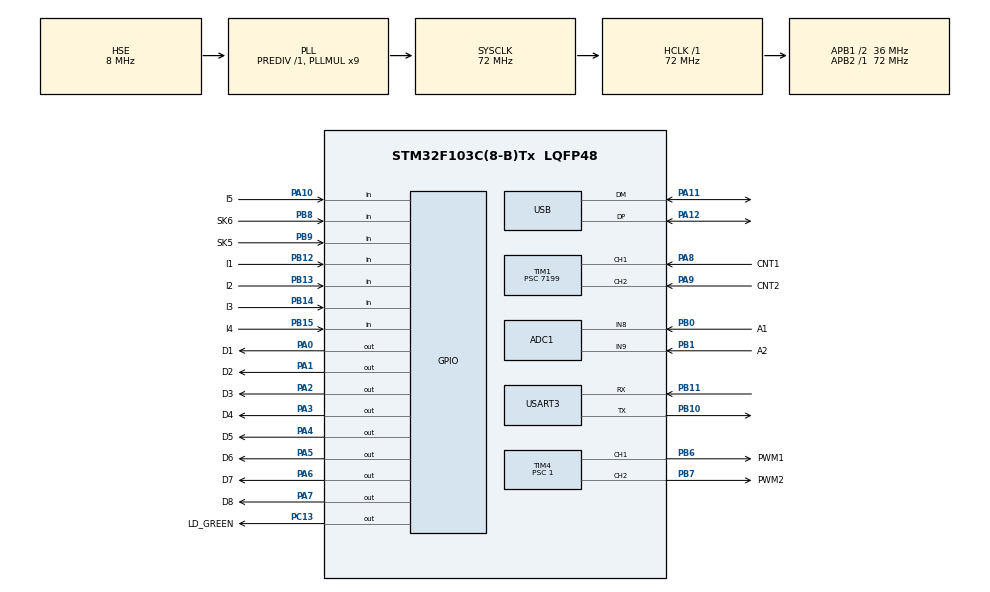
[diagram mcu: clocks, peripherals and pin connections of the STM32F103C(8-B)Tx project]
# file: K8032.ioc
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ADC1.Channel-1\#ChannelRegularConversion=ADC_CHANNEL_8
ADC1.Channel-2\#ChannelRegularConversion=ADC_CHANNEL_9
ADC1.ContinuousConvMode=DISABLE
ADC1.DiscontinuousConvMode=ENABLE
ADC1.NbrOfConversion=2
ADC1.NbrOfConversionFlag=1
ADC1.NbrOfDiscConversion=1
ADC1.Rank-1\#ChannelRegularConversion=1
ADC1.Rank-2\#ChannelRegularConversion=2
ADC1.SamplingTime-1\#ChannelRegularConversion=ADC_SAMPLETIME_1CYCLE_5
ADC1.SamplingTime-2\#ChannelRegularConversion=ADC_SAMPLETIME_1CYCLE_5
ADC1.master=1
Mcu.Family=STM32F1
Mcu.Name=STM32F103C(8-B)Tx
Mcu.Package=LQFP48
NVIC.PriorityGroup=NVIC_PRIORITYGROUP_4
NVIC.TIM1_CC_IRQn=true\:0\:0\:false\:false\:true\:true\:true\:true
NVIC.TIM4_IRQn=true\:0\:0\:false\:false\:true\:true\:true\:true
NVIC.USART3_IRQn=true\:0\:0\:false\:false\:true\:true\:true\:true
NVIC.USB_LP_CAN1_RX0_IRQn=true\:0\:0\:false\:false\:true\:false\:true\:true
PA0-WKUP.GPIO_Label=D1
PA0-WKUP.Signal=GPIO_Output
PA1.GPIO_Label=D2
PA1.Signal=GPIO_Output
PA10.GPIO_Label=I5
PA10.GPIO_PuPd=GPIO_PULLDOWN
PA10.Signal=GPIO_Input
PA11.Mode=Device
PA11.Signal=USB_DM
PA12.Mode=Device
PA12.Signal=USB_DP
PA13.Mode=JTAG_5_pins
PA13.Signal=SYS_JTMS-SWDIO
PA14.Mode=JTAG_5_pins
PA14.Signal=SYS_JTCK-SWCLK
PA15.Mode=JTAG_5_pins
PA15.Signal=SYS_JTDI
PA2.GPIO_Label=D3
PA2.Signal=GPIO_Output
PA3.GPIO_Label=D4
PA3.Signal=GPIO_Output
PA4.GPIO_Label=D5
PA4.Signal=GPIO_Output
PA5.GPIO_Label=D6
PA5.Signal=GPIO_Output
PA6.GPIO_Label=D7
PA6.Signal=GPIO_Output
PA7.GPIO_Label=D8
PA7.Signal=GPIO_Output
PA8.GPIO_Label=CNT1
PA8.GPIO_PuPd=GPIO_PULLDOWN
PA8.Signal=S_TIM1_CH1
PA9.GPIO_Label=CNT2
PA9.GPIO_PuPd=GPIO_PULLDOWN
PA9.Signal=S_TIM1_CH2
PB0.GPIO_Label=A1
PB0.Signal=ADCx_IN8
PB1.GPIO_Label=A2
PB1.Signal=ADCx_IN9
PB10.Mode=Asynchronous
PB10.Signal=USART3_TX
PB11.Mode=Asynchronous
PB11.Signal=USART3_RX
PB12.GPIO_Label=I1
PB12.GPIO_PuPd=GPIO_PULLDOWN
PB12.Signal=GPIO_Input
PB13.GPIO_Label=I2
PB13.GPIO_PuPd=GPIO_PULLDOWN
PB13.Signal=GPIO_Input
PB14.GPIO_Label=I3
PB14.GPIO_PuPd=GPIO_PULLDOWN
PB14.Signal=GPIO_Input
PB15.GPIO_Label=I4
PB15.GPIO_PuPd=GPIO_PULLDOWN
PB15.Signal=GPIO_Input
PB3.Mode=JTAG_5_pins
PB3.Signal=SYS_JTDO-TRACESWO
PB4.Mode=JTAG_5_pins
PB4.Signal=SYS_NJTRST
PB6.GPIO_Label=PWM1
PB6.Signal=S_TIM4_CH1
PB7.GPIO_Label=PWM2
PB7.Signal=S_TIM4_CH2
PB8.GPIO_Label=SK6
PB8.GPIO_PuPd=GPIO_PULLUP
PB8.Signal=GPIO_Input
PB9.GPIO_Label=SK5
PB9.GPIO_PuPd=GPIO_PULLUP
PB9.Signal=GPIO_Input
PC13-TAMPER-RTC.GPIO_Label=LD_GREEN
PC13-TAMPER-RTC.PinState=GPIO_PIN_SET
PC13-TAMPER-RTC.Signal=GPIO_Output
PC14-OSC32_IN.Mode=LSE-External-Oscillator
PC14-OSC32_IN.Signal=RCC_OSC32_IN
PC15-OSC32_OUT.Mode=LSE-External-Oscillator
PC15-OSC32_OUT.Signal=RCC_OSC32_OUT
PD0-OSC_IN.Mode=HSE-External-Oscillator
PD0-OSC_IN.Signal=RCC_OSC_IN
PD1-OSC_OUT.Mode=HSE-External-Oscillator
PD1-OSC_OUT.Signal=RCC_OSC_OUT
ProjectManager.HeapSize=0x400
ProjectManager.StackSize=0x400
ProjectManager.TargetToolchain=STM32CubeIDE
RCC.ADCPresc=RCC_ADCPCLK2_DIV6
RCC.AHBFreq_Value=72000000
RCC.APB1CLKDivider=RCC_HCLK_DIV2
RCC.APB1Freq_Value=36000000
RCC.APB1TimFreq_Value=72000000
RCC.APB2Freq_Value=72000000
RCC.APB2TimFreq_Value=72000000
RCC.HCLKFreq_Value=72000000
RCC.PLLMUL=RCC_PLL_MUL9
RCC.SYSCLKFreq_VALUE=72000000
RCC.SYSCLKSource=RCC_SYSCLKSOURCE_PLLCLK
RCC.USBFreq_Value=48000000
RCC.USBPrescaler=RCC_USBCLKSOURCE_PLL_DIV1_5
SH.ADCx_IN8.0=ADC1_IN8,IN8
SH.ADCx_IN9.0=ADC1_IN9,IN9
SH.S_TIM1_CH1.0=TIM1_CH1,Input_Capture1_from_TI1
SH.S_TIM1_CH2.0=TIM1_CH2,Input_Capture2_from_TI2
SH.S_TIM4_CH1.0=TIM4_CH1,PWM Generation1 CH1
SH.S_TIM4_CH2.0=TIM4_CH2,PWM Generation2 CH2
TIM1.AutoReloadPreload=TIM_AUTORELOAD_PRELOAD_ENABLE
TIM1.Channel-Input_Capture1_from_TI1=TIM_CHANNEL_1
TIM1.Channel-Input_Capture2_from_TI2=TIM_CHANNEL_2
TIM1.ClockDivision=TIM_CLOCKDIVISION_DIV1
TIM1.ICPolarity_CH1=TIM_INPUTCHANNELPOLARITY_RISING
TIM1.ICPolarity_CH2=TIM_INPUTCHANNELPOLARITY_RISING
TIM1.Period=65535
TIM1.Prescaler=7199
TIM4.AutoReloadPreload=TIM_AUTORELOAD_PRELOAD_ENABLE
TIM4.Channel-PWM\ Generation1\ CH1=TIM_CHANNEL_1
TIM4.Channel-PWM\ Generation2\ CH2=TIM_CHANNEL_2
TIM4.Period=1023
TIM4.Prescaler=1
USART3.VirtualMode=VM_ASYNC
USB_DEVICE.CLASS_NAME_FS=CUSTOM_HID
USB_DEVICE.CUSTOM_HID_FS_BINTERVAL=0x01
USB_DEVICE.USBD_CUSTOMHID_OUTREPORT_BUF_SIZE=64
USB_DEVICE.VirtualMode=CustomHid
USB_DEVICE.VirtualModeFS=Custom_Hid_FS
VP_TIM1_VS_ClockSourceINT.Mode=Internal
VP_TIM4_VS_ClockSourceINT.Mode=Internal
VP_USB_DEVICE_VS_USB_DEVICE_CUSTOM_HID_FS.Mode=CUSTOM_HID_FS
board=custom

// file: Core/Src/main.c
/* USER CODE BEGIN Header */
/**
  ******************************************************************************
  * @file           : main.c
  * @brief          : Main program body
  ******************************************************************************
  * @attention
  *
  * Copyright (c) 2024 STMicroelectronics.
  * All rights reserved.
  *
  * This software is licensed under terms that can be found in the LICENSE file
  * in the root directory of this software component.
  * If no LICENSE file comes with this software, it is provided AS-IS.
  *
  ******************************************************************************
  */
/* USER CODE END Header */
#include "main.h"
#include "usb_device.h"

/* USER CODE BEGIN Includes */
#include "usbd_customhid.h"
#include <stdbool.h>
#include "stdio.h"
/* USER CODE END Includes */

/* USER CODE BEGIN PD */
#define USB_LED_TIMEOUT_MS 100

extern USBD_HandleTypeDef hUsbDeviceFS;

/* USER CODE END PD */

ADC_HandleTypeDef hadc1;

TIM_HandleTypeDef htim1;
TIM_HandleTypeDef htim4;

UART_HandleTypeDef huart3;

/* USER CODE BEGIN PV */
uint8_t card_addr=0; // card address

// USB
uint8_t rxBufferUSB[CUSTOM_HID_EPOUT_SIZE];	// buffer for data from host
// bytes: |DIN|PID+1|AN1|AN2|CNT1|CNT2|
uint8_t txBuffer[CUSTOM_HID_EPIN_SIZE];	// buffer for data to host

bool rxDataUsb = false;

// input capture
volatile uint16_t counter1 = 0;
volatile uint16_t counter2 = 0;
uint16_t deb_per_cnt1 = 20; // default debouncing period
uint16_t deb_per_cnt2 = 20;

//serial debug interface
//int serInput;

/* USER CODE END PV */

void SystemClock_Config(void);
static void MX_GPIO_Init(void);
static void MX_TIM1_Init(void);
static void MX_USART3_UART_Init(void);
static void MX_TIM4_Init(void);
static void MX_ADC1_Init(void);
/* USER CODE BEGIN PFP */

#ifdef __GNUC__
#define PUTCHAR_PROTOTYPE int __io_putchar(int ch)
#define GETCHAR_PROTOTYPE int __io_getchar(void)
#else
#define PUTCHAR_PROTOTYPE int fputc(int ch, FILE *f)
#define GETCHAR_PROTOTYPE int fgetc(FILE *f)
#endif

void printByte(unsigned char);
void writeDigital(unsigned char *);

/* USER CODE END PFP */

int main(void)
{

  /* USER CODE BEGIN 1 */
  setvbuf(stdin, NULL, _IONBF, 0); // To properly let work scanf()
  int n;
  uint8_t digitalOut;
  uint8_t digitalIn;
  uint16_t anOut1, anOut2;
  uint16_t adc_val_ch8 = 0;
  uint16_t adc_val_ch9 = 0;
  long ledTimer;
  bool ledToggle=false;
  bool printRxBuff=false;

  /* USER CODE END 1 */

  /* MCU Configuration--------------------------------------------------------*/

  /* Reset of all peripherals, Initializes the Flash interface and the Systick. */
  HAL_Init();

  /* Configure the system clock */
  SystemClock_Config();

  /* Initialize all configured peripherals */
  MX_GPIO_Init();
  MX_TIM1_Init();
  MX_USART3_UART_Init();
  //MX_USB_DEVICE_Init();
  MX_TIM4_Init();
  MX_ADC1_Init();
  /* USER CODE BEGIN 2 */

  // read the card address from the jumper settings.
  if (HAL_GPIO_ReadPin(SK5_GPIO_Port, SK5_Pin) == 1)
  {
  	card_addr |= 0x01;
  }
  if (HAL_GPIO_ReadPin(SK6_GPIO_Port, SK6_Pin) == 1)
  {
  	card_addr |= 0x02;
  }
  txBuffer[BOARD_ID] = card_addr+1; // fill the buffer with the current card address

  // Replace array entry of PID LSB before USB device enumeration in usb_device.c
  // USBD_FS_DeviceDesc[10] = card_addr;
  MX_USB_DEVICE_Init();

  // Initialize uart3
  if (HAL_UART_Init(&huart3) != HAL_OK)
  {
	  Error_Handler();
  }
  printf("* K8032 v1.0 *\n\rcard address: %u\n\r", card_addr);

  // Init timer 1 for input capture
  // With HSE=8.0MHz, PLLmul=9, AHBpresc=1, sysclk=72MHz
  // prescaler=div1 (setting=0), PSC=7199, CPER=65535, ftim1=72Mhz/(7199+1)=10kHz → 0.1 ms per tick
  // 2 ms debounce → 20 ticks
  // 10 ms debounce → 100 ticks
  // 1000 ms debounce → 10000 ticks
  HAL_TIM_IC_Start_IT(&htim1, TIM_CHANNEL_1);
  HAL_TIM_IC_Start_IT(&htim1, TIM_CHANNEL_2);

  // Init timer 4 for generating PWM (org. f k8055 is 23.43kHz)
  // With HSE=8.0MHz, PLLmul=9, AHBpresc=1, sysclk=72MHz
  // prescaler=div2 (setting=1), tim1clk=36MHz, f_pwm=36000/(1023+1)=35.1563kHz
  // resolution: log(ARR+1)/log(2)=log(1023+1)/log(2)=10bit.
  HAL_TIM_Base_Start_IT(&htim4);
  HAL_TIM_PWM_Start_IT(&htim4, TIM_CHANNEL_1); // Start the PWM generation.
  HAL_TIM_PWM_Start_IT(&htim4, TIM_CHANNEL_2);

  /* USER CODE END 2 */

  /* Infinite loop */
  while (1)
  {

    /* USER CODE BEGIN 3 */
	if(rxDataUsb)
	{
		// show activity on USB LED
		if (!HAL_GPIO_ReadPin(LD_GREEN_GPIO_Port, LD_GREEN_Pin)) // If ON..
		{
			HAL_GPIO_TogglePin(LD_GREEN_GPIO_Port, LD_GREEN_Pin);
			ledTimer = uwTick;
			ledToggle = true;
		}

		if (rxBufferUSB[CMD] == BOARD_RESET) {
			// reset ?
		}
		else if ((rxBufferUSB[CMD] == SET_DEBOUNCE1) & (rxBufferUSB[DEB1] == DEB_PER_0MS)) {
			deb_per_cnt1 = 0; // set debouncing period counter 1
		}
		else if ((rxBufferUSB[CMD] == SET_DEBOUNCE1) & (rxBufferUSB[DEB1] == DEB_PER_2MS)) {
			deb_per_cnt1 = 20; // set debouncing period counter 1
		}
		else if ((rxBufferUSB[CMD] == SET_DEBOUNCE1) & (rxBufferUSB[DEB1] == DEB_PER_10MS)) {
			deb_per_cnt1 = 100; // set debouncing period counter 1
		}
		else if ((rxBufferUSB[CMD] == SET_DEBOUNCE1) & (rxBufferUSB[DEB1] == DEB_PER_1000MS)) {
			deb_per_cnt1 = 10000; // set debouncing period counter 1
		}
		else if ((rxBufferUSB[CMD] == SET_DEBOUNCE2) & (rxBufferUSB[DEB2] == DEB_PER_0MS)) {
			deb_per_cnt2 = 0; // set debouncing period counter 2
		}
		else if ((rxBufferUSB[CMD] == SET_DEBOUNCE2) & (rxBufferUSB[DEB2] == DEB_PER_2MS)) {
			deb_per_cnt2 = 20; // set debouncing period counter 2
		}
		else if ((rxBufferUSB[CMD] == SET_DEBOUNCE2) & (rxBufferUSB[DEB2] == DEB_PER_10MS))	{
			deb_per_cnt2 = 100; // set debouncing period counter 2
		}
		else if ((rxBufferUSB[CMD] == SET_DEBOUNCE2) & (rxBufferUSB[DEB2] == DEB_PER_1000MS)) {
			deb_per_cnt2 = 10000; // set debouncing period counter 2
		}
		else if (rxBufferUSB[CMD] == RESET_CNT1) {
			counter1 = 0; // reset counter 1
		}
		else if (rxBufferUSB[CMD] == RESET_CNT2) {
			counter2 = 0; // reset counter 2
		}
		else if (rxBufferUSB[CMD] == WRITE_DA) {
			// set analog and digital
			digitalOut = rxBufferUSB[DOUT];
			writeDigital(&digitalOut); // write digital
			anOut1 = rxBufferUSB[DAC1] << 2; // scale up to 10 bits.
			__HAL_TIM_SET_COMPARE(&htim4, TIM_CHANNEL_1, anOut1); // write PWM1
			anOut2 = rxBufferUSB[DAC2] << 2;
			__HAL_TIM_SET_COMPARE(&htim4, TIM_CHANNEL_2, anOut2); // write PWM2
		}
		else if (rxBufferUSB[CMD] == HANDSHAKE) {
			// send reply with board ID?
		}

		printRxBuff = true;
		rxDataUsb = false;
	}

	// digital inputs
	digitalIn = 0;
	if (HAL_GPIO_ReadPin(I1_GPIO_Port, I1_Pin) == 1) digitalIn |= 0x10;
	if (HAL_GPIO_ReadPin(I2_GPIO_Port, I2_Pin) == 1) digitalIn |= 0x20;
	if (HAL_GPIO_ReadPin(I3_GPIO_Port, I3_Pin) == 1) digitalIn |= 0x01;
	if (HAL_GPIO_ReadPin(I4_GPIO_Port, I4_Pin) == 1) digitalIn |= 0x40;
	if (HAL_GPIO_ReadPin(I5_GPIO_Port, I5_Pin) == 1) digitalIn |= 0x80;
	txBuffer[DIN] = digitalIn;

	// counter 1
	txBuffer[CNT1_MSB] = (counter1 >> 8) & 0xFF;
	txBuffer[CNT1_LSB] = counter1 & 0xFF;

	// counter 2
	txBuffer[CNT2_MSB] = (counter2 >> 8) & 0xFF;
	txBuffer[CNT2_LSB] = counter2 & 0xFF;

	// read ADC - discontinuous scanning mode
	HAL_ADC_Start(&hadc1); // Start ADC in polling mode
	if (HAL_ADC_PollForConversion(&hadc1, 2) == HAL_OK)
	{
		adc_val_ch8 = HAL_ADC_GetValue(&hadc1);  // First result: Channel 8
	}
	txBuffer[AN1] = (adc_val_ch8 >> 4) & 0xFF; // analog channel 1

	HAL_ADC_Start(&hadc1);
	if (HAL_ADC_PollForConversion(&hadc1, 2) == HAL_OK)
	{
	    adc_val_ch9 = HAL_ADC_GetValue(&hadc1);  // Second result: Channel 9
	}
	// HAL_ADC_Stop(&hadc1);
	txBuffer[AN2] = (adc_val_ch9 >> 4) & 0xFF; // analog channel 2

	// Send HID package to host
    while(USBD_CUSTOM_HID_SendReport(&hUsbDeviceFS, (uint8_t*)txBuffer, CUSTOM_HID_EPIN_SIZE))
    {
    	HAL_Delay(5);
    }

    if (ledToggle && (uwTick > ledTimer + USB_LED_TIMEOUT_MS))
    {
    	HAL_GPIO_TogglePin(LD_GREEN_GPIO_Port, LD_GREEN_Pin); // Toggle back green LED.
    	ledToggle = false;
    }

    if(printRxBuff)
    {
		// Print received HID package to serial
		printf("\n\rHID package:\n\r");
		for(n=1; n <= CUSTOM_HID_EPOUT_SIZE; n++)
		{
			printf("%u ", rxBufferUSB[n-1]);
			if( (n % 8) == 0 )
			{
				printf("\n\r");
			}
		}
		printRxBuff = false;
    }
  }
  /* USER CODE END 3 */
}

void SystemClock_Config(void)
{
  RCC_OscInitTypeDef RCC_OscInitStruct = {0};
  RCC_ClkInitTypeDef RCC_ClkInitStruct = {0};
  RCC_PeriphCLKInitTypeDef PeriphClkInit = {0};

  /** Initializes the RCC Oscillators according to the specified parameters
  * in the RCC_OscInitTypeDef structure.
  */
  RCC_OscInitStruct.OscillatorType = RCC_OSCILLATORTYPE_HSE;
  RCC_OscInitStruct.HSEState = RCC_HSE_ON;
  RCC_OscInitStruct.HSEPredivValue = RCC_HSE_PREDIV_DIV1;
  RCC_OscInitStruct.HSIState = RCC_HSI_ON;
  RCC_OscInitStruct.PLL.PLLState = RCC_PLL_ON;
  RCC_OscInitStruct.PLL.PLLSource = RCC_PLLSOURCE_HSE;
  RCC_OscInitStruct.PLL.PLLMUL = RCC_PLL_MUL9;
  if (HAL_RCC_OscConfig(&RCC_OscInitStruct) != HAL_OK)
  {
    Error_Handler();
  }

  /** Initializes the CPU, AHB and APB buses clocks
  */
  RCC_ClkInitStruct.ClockType = RCC_CLOCKTYPE_HCLK|RCC_CLOCKTYPE_SYSCLK
                              |RCC_CLOCKTYPE_PCLK1|RCC_CLOCKTYPE_PCLK2;
  RCC_ClkInitStruct.SYSCLKSource = RCC_SYSCLKSOURCE_PLLCLK;
  RCC_ClkInitStruct.AHBCLKDivider = RCC_SYSCLK_DIV1;
  RCC_ClkInitStruct.APB1CLKDivider = RCC_HCLK_DIV2;
  RCC_ClkInitStruct.APB2CLKDivider = RCC_HCLK_DIV1;

  if (HAL_RCC_ClockConfig(&RCC_ClkInitStruct, FLASH_LATENCY_2) != HAL_OK)
  {
    Error_Handler();
  }
  PeriphClkInit.PeriphClockSelection = RCC_PERIPHCLK_ADC|RCC_PERIPHCLK_USB;
  PeriphClkInit.AdcClockSelection = RCC_ADCPCLK2_DIV6;
  PeriphClkInit.UsbClockSelection = RCC_USBCLKSOURCE_PLL_DIV1_5;
  if (HAL_RCCEx_PeriphCLKConfig(&PeriphClkInit) != HAL_OK)
  {
    Error_Handler();
  }
}

static void MX_ADC1_Init(void)
{

  ADC_ChannelConfTypeDef sConfig = {0};

  /** Common config
  */
  hadc1.Instance = ADC1;
  hadc1.Init.ScanConvMode = ADC_SCAN_ENABLE;
  hadc1.Init.ContinuousConvMode = DISABLE;
  hadc1.Init.DiscontinuousConvMode = ENABLE;
  hadc1.Init.NbrOfDiscConversion = 1;
  hadc1.Init.ExternalTrigConv = ADC_SOFTWARE_START;
  hadc1.Init.DataAlign = ADC_DATAALIGN_RIGHT;
  hadc1.Init.NbrOfConversion = 2;
  if (HAL_ADC_Init(&hadc1) != HAL_OK)
  {
    Error_Handler();
  }

  /** Configure Regular Channel
  */
  sConfig.Channel = ADC_CHANNEL_8;
  sConfig.Rank = ADC_REGULAR_RANK_1;
  sConfig.SamplingTime = ADC_SAMPLETIME_1CYCLE_5;
  if (HAL_ADC_ConfigChannel(&hadc1, &sConfig) != HAL_OK)
  {
    Error_Handler();
  }

  /** Configure Regular Channel
  */
  sConfig.Channel = ADC_CHANNEL_9;
  sConfig.Rank = ADC_REGULAR_RANK_2;
  if (HAL_ADC_ConfigChannel(&hadc1, &sConfig) != HAL_OK)
  {
    Error_Handler();
  }

}

static void MX_TIM1_Init(void)
{

  TIM_ClockConfigTypeDef sClockSourceConfig = {0};
  TIM_MasterConfigTypeDef sMasterConfig = {0};
  TIM_IC_InitTypeDef sConfigIC = {0};

  htim1.Instance = TIM1;
  htim1.Init.Prescaler = 7199;
  htim1.Init.CounterMode = TIM_COUNTERMODE_UP;
  htim1.Init.Period = 65535;
  htim1.Init.ClockDivision = TIM_CLOCKDIVISION_DIV1;
  htim1.Init.RepetitionCounter = 0;
  htim1.Init.AutoReloadPreload = TIM_AUTORELOAD_PRELOAD_ENABLE;
  if (HAL_TIM_Base_Init(&htim1) != HAL_OK)
  {
    Error_Handler();
  }
  sClockSourceConfig.ClockSource = TIM_CLOCKSOURCE_INTERNAL;
  if (HAL_TIM_ConfigClockSource(&htim1, &sClockSourceConfig) != HAL_OK)
  {
    Error_Handler();
  }
  if (HAL_TIM_IC_Init(&htim1) != HAL_OK)
  {
    Error_Handler();
  }
  sMasterConfig.MasterOutputTrigger = TIM_TRGO_RESET;
  sMasterConfig.MasterSlaveMode = TIM_MASTERSLAVEMODE_DISABLE;
  if (HAL_TIMEx_MasterConfigSynchronization(&htim1, &sMasterConfig) != HAL_OK)
  {
    Error_Handler();
  }
  sConfigIC.ICPolarity = TIM_INPUTCHANNELPOLARITY_RISING;
  sConfigIC.ICSelection = TIM_ICSELECTION_DIRECTTI;
  sConfigIC.ICPrescaler = TIM_ICPSC_DIV1;
  sConfigIC.ICFilter = 0;
  if (HAL_TIM_IC_ConfigChannel(&htim1, &sConfigIC, TIM_CHANNEL_1) != HAL_OK)
  {
    Error_Handler();
  }
  if (HAL_TIM_IC_ConfigChannel(&htim1, &sConfigIC, TIM_CHANNEL_2) != HAL_OK)
  {
    Error_Handler();
  }

}

static void MX_TIM4_Init(void)
{

  TIM_ClockConfigTypeDef sClockSourceConfig = {0};
  TIM_MasterConfigTypeDef sMasterConfig = {0};
  TIM_OC_InitTypeDef sConfigOC = {0};

  htim4.Instance = TIM4;
  htim4.Init.Prescaler = 1;
  htim4.Init.CounterMode = TIM_COUNTERMODE_UP;
  htim4.Init.Period = 1023;
  htim4.Init.ClockDivision = TIM_CLOCKDIVISION_DIV1;
  htim4.Init.AutoReloadPreload = TIM_AUTORELOAD_PRELOAD_ENABLE;
  if (HAL_TIM_Base_Init(&htim4) != HAL_OK)
  {
    Error_Handler();
  }
  sClockSourceConfig.ClockSource = TIM_CLOCKSOURCE_INTERNAL;
  if (HAL_TIM_ConfigClockSource(&htim4, &sClockSourceConfig) != HAL_OK)
  {
    Error_Handler();
  }
  if (HAL_TIM_PWM_Init(&htim4) != HAL_OK)
  {
    Error_Handler();
  }
  sMasterConfig.MasterOutputTrigger = TIM_TRGO_RESET;
  sMasterConfig.MasterSlaveMode = TIM_MASTERSLAVEMODE_DISABLE;
  if (HAL_TIMEx_MasterConfigSynchronization(&htim4, &sMasterConfig) != HAL_OK)
  {
    Error_Handler();
  }
  sConfigOC.OCMode = TIM_OCMODE_PWM1;
  sConfigOC.Pulse = 0;
  sConfigOC.OCPolarity = TIM_OCPOLARITY_HIGH;
  sConfigOC.OCFastMode = TIM_OCFAST_DISABLE;
  if (HAL_TIM_PWM_ConfigChannel(&htim4, &sConfigOC, TIM_CHANNEL_1) != HAL_OK)
  {
    Error_Handler();
  }
  if (HAL_TIM_PWM_ConfigChannel(&htim4, &sConfigOC, TIM_CHANNEL_2) != HAL_OK)
  {
    Error_Handler();
  }
  HAL_TIM_MspPostInit(&htim4);

}

static void MX_USART3_UART_Init(void)
{

  huart3.Instance = USART3;
  huart3.Init.BaudRate = 115200;
  huart3.Init.WordLength = UART_WORDLENGTH_8B;
  huart3.Init.StopBits = UART_STOPBITS_1;
  huart3.Init.Parity = UART_PARITY_NONE;
  huart3.Init.Mode = UART_MODE_TX_RX;
  huart3.Init.HwFlowCtl = UART_HWCONTROL_NONE;
  huart3.Init.OverSampling = UART_OVERSAMPLING_16;
  if (HAL_UART_Init(&huart3) != HAL_OK)
  {
    Error_Handler();
  }

}

static void MX_GPIO_Init(void)
{
  GPIO_InitTypeDef GPIO_InitStruct = {0};

  /* GPIO Ports Clock Enable */
  __HAL_RCC_GPIOC_CLK_ENABLE();
  __HAL_RCC_GPIOD_CLK_ENABLE();
  __HAL_RCC_GPIOA_CLK_ENABLE();
  __HAL_RCC_GPIOB_CLK_ENABLE();

  /*Configure GPIO pin Output Level */
  HAL_GPIO_WritePin(LD_GREEN_GPIO_Port, LD_GREEN_Pin, GPIO_PIN_SET);

  /*Configure GPIO pin Output Level */
  HAL_GPIO_WritePin(GPIOA, D1_Pin|D2_Pin|D3_Pin|D4_Pin
                          |D5_Pin|D6_Pin|D7_Pin|D8_Pin, GPIO_PIN_RESET);

  /*Configure GPIO pin : LD_GREEN_Pin */
  GPIO_InitStruct.Pin = LD_GREEN_Pin;
  GPIO_InitStruct.Mode = GPIO_MODE_OUTPUT_PP;
  GPIO_InitStruct.Pull = GPIO_NOPULL;
  GPIO_InitStruct.Speed = GPIO_SPEED_FREQ_LOW;
  HAL_GPIO_Init(LD_GREEN_GPIO_Port, &GPIO_InitStruct);

  /*Configure GPIO pins : D1_Pin D2_Pin D3_Pin D4_Pin
                           D5_Pin D6_Pin D7_Pin D8_Pin */
  GPIO_InitStruct.Pin = D1_Pin|D2_Pin|D3_Pin|D4_Pin
                          |D5_Pin|D6_Pin|D7_Pin|D8_Pin;
  GPIO_InitStruct.Mode = GPIO_MODE_OUTPUT_PP;
  GPIO_InitStruct.Pull = GPIO_NOPULL;
  GPIO_InitStruct.Speed = GPIO_SPEED_FREQ_LOW;
  HAL_GPIO_Init(GPIOA, &GPIO_InitStruct);

  /*Configure GPIO pins : I1_Pin I2_Pin I3_Pin I4_Pin */
  GPIO_InitStruct.Pin = I1_Pin|I2_Pin|I3_Pin|I4_Pin;
  GPIO_InitStruct.Mode = GPIO_MODE_INPUT;
  GPIO_InitStruct.Pull = GPIO_PULLDOWN;
  HAL_GPIO_Init(GPIOB, &GPIO_InitStruct);

  /*Configure GPIO pin : I5_Pin */
  GPIO_InitStruct.Pin = I5_Pin;
  GPIO_InitStruct.Mode = GPIO_MODE_INPUT;
  GPIO_InitStruct.Pull = GPIO_PULLDOWN;
  HAL_GPIO_Init(I5_GPIO_Port, &GPIO_InitStruct);

  /*Configure GPIO pins : SK6_Pin SK5_Pin */
  GPIO_InitStruct.Pin = SK6_Pin|SK5_Pin;
  GPIO_InitStruct.Mode = GPIO_MODE_INPUT;
  GPIO_InitStruct.Pull = GPIO_PULLUP;
  HAL_GPIO_Init(GPIOB, &GPIO_InitStruct);

}

/* USER CODE BEGIN 4 */
PUTCHAR_PROTOTYPE
{
  HAL_UART_Transmit(&huart3, (uint8_t *)&ch, 1, HAL_MAX_DELAY);
  return ch;
}

GETCHAR_PROTOTYPE
{
  uint8_t ch = 0;

  /* Clear the Overrun flag just before receiving the first character */
  __HAL_UART_CLEAR_OREFLAG(&huart3);

  /* Wait for reception of a character on the USART RX line and echo this
   * character on console */
  HAL_UART_Receive(&huart3, (uint8_t *)&ch, 1, HAL_MAX_DELAY);
  HAL_UART_Transmit(&huart3, (uint8_t *)&ch, 1, HAL_MAX_DELAY);
  return ch;
}

void printByte(unsigned char inByte)
{
   int i;

   printf("0b");
   for (i=0; i<8; i++){
      putc((inByte & 0x80) ? '1' : '0', stdout);
      inByte <<= 1;
   }
   printf("\r\n");
}

void writeDigital(unsigned char *byte)
{
  // write at once. Only works for pins from the same port.
  GPIOA->BSRR = *byte					// Set bits
	      	    | (~(*byte) << 16);		// Reset bits
}

void HAL_TIM_IC_CaptureCallback(TIM_HandleTypeDef *htim)
{
	static uint32_t last_capture_ch1;
	static uint32_t last_capture_ch2;
    uint32_t capture;
	uint32_t delta;

	// HAL_GPIO_TogglePin(D1_GPIO_Port, D1_Pin); // debugging
    if (htim->Instance == TIM1 && htim->Channel == HAL_TIM_ACTIVE_CHANNEL_1)
    {
        capture = HAL_TIM_ReadCapturedValue(htim, TIM_CHANNEL_1);
        delta = (capture >= last_capture_ch1) ?
                         (capture - last_capture_ch1) :
                         (htim->Init.Period - last_capture_ch1 + capture + 1);

        // printf("%lu\n\r", delta); // debugging
        if (delta >= deb_per_cnt1)
        {
            // Valid edge detected
            last_capture_ch1 = capture;
            // Handle event
            counter1++;
        }
        // else: ignore bounce
    }
    else if (htim->Instance == TIM1 && htim->Channel == HAL_TIM_ACTIVE_CHANNEL_2)
    {
        capture = HAL_TIM_ReadCapturedValue(htim, TIM_CHANNEL_2);
        delta = (capture >= last_capture_ch2) ?
                         (capture - last_capture_ch2) :
                         (htim->Init.Period - last_capture_ch2 + capture + 1);

        if (delta >= deb_per_cnt2)
        {
            // Valid edge detected
            last_capture_ch2 = capture;
            // Handle event
            counter2++;
        }
        // else: ignore bounce
    }
}

/* USER CODE END 4 */

void Error_Handler(void)
{
  /* USER CODE BEGIN Error_Handler_Debug */
  /* User can add his own implementation to report the HAL error return state */
  __disable_irq();
  while (1)
  {
	  HAL_GPIO_TogglePin(LD_GREEN_GPIO_Port, LD_GREEN_Pin);
	  HAL_Delay(200);
  }
  /* USER CODE END Error_Handler_Debug */
}
